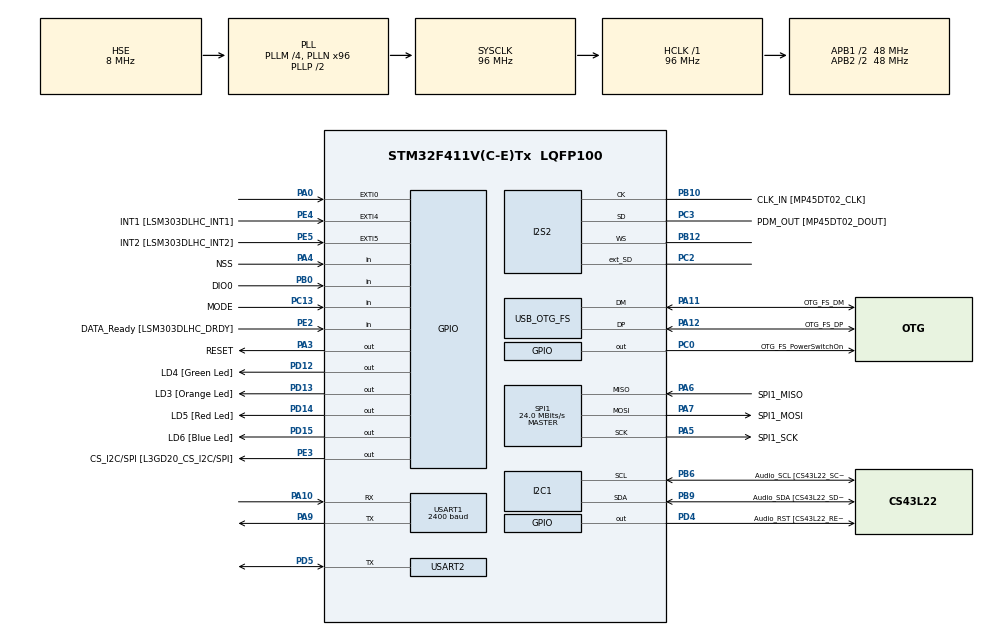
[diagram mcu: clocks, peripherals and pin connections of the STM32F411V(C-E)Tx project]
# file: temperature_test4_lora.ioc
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Dma.Request0=USART2_RX
Dma.Request1=USART2_TX
Dma.USART2_RX.0.Direction=DMA_PERIPH_TO_MEMORY
Dma.USART2_RX.0.FIFOMode=DMA_FIFOMODE_DISABLE
Dma.USART2_RX.0.Instance=DMA1_Stream7
Dma.USART2_RX.0.MemDataAlignment=DMA_MDATAALIGN_BYTE
Dma.USART2_RX.0.MemInc=DMA_MINC_ENABLE
Dma.USART2_RX.0.Mode=DMA_NORMAL
Dma.USART2_RX.0.PeriphDataAlignment=DMA_PDATAALIGN_BYTE
Dma.USART2_RX.0.PeriphInc=DMA_PINC_DISABLE
Dma.USART2_RX.0.Priority=DMA_PRIORITY_LOW
Dma.USART2_TX.1.Direction=DMA_MEMORY_TO_PERIPH
Dma.USART2_TX.1.FIFOMode=DMA_FIFOMODE_DISABLE
Dma.USART2_TX.1.Instance=DMA1_Stream6
Dma.USART2_TX.1.MemDataAlignment=DMA_MDATAALIGN_BYTE
Dma.USART2_TX.1.MemInc=DMA_MINC_ENABLE
Dma.USART2_TX.1.Mode=DMA_NORMAL
Dma.USART2_TX.1.PeriphDataAlignment=DMA_PDATAALIGN_BYTE
Dma.USART2_TX.1.PeriphInc=DMA_PINC_DISABLE
Dma.USART2_TX.1.Priority=DMA_PRIORITY_LOW
I2S2.AudioFreq=I2S_AUDIOFREQ_96K
I2S2.ErrorAudioFreq=0.15 %
I2S2.FullDuplexMode=I2S_FULLDUPLEXMODE_ENABLE
I2S2.Instance=SPI$Index
I2S2.RealAudioFreq=96.153 KHz
I2S2.VirtualMode=I2S_MODE_MASTER
Mcu.Family=STM32F4
Mcu.Name=STM32F411V(C-E)Tx
Mcu.Package=LQFP100
NVIC.DMA1_Stream6_IRQn=true\:0\:0\:false\:false\:true\:false\:true\:true
NVIC.DMA1_Stream7_IRQn=true\:0\:0\:false\:false\:true\:false\:true\:true
NVIC.OTG_FS_IRQn=true\:0\:0\:false\:false\:true\:true\:true\:true
NVIC.PriorityGroup=NVIC_PRIORITYGROUP_0
NVIC.RCC_IRQn=true\:0\:0\:false\:false\:true\:true\:false\:true
NVIC.USART2_IRQn=true\:0\:0\:false\:false\:true\:true\:true\:true
PA0-WKUP.GPIO_ModeDefaultEXTI=GPIO_MODE_EVT_RISING
PA0-WKUP.Signal=GPXTI0
PA10.Mode=Asynchronous
PA10.Signal=USART1_RX
PA11.GPIO_Label=OTG_FS_DM
PA11.Mode=Host_Only
PA11.Signal=USB_OTG_FS_DM
PA12.GPIO_Label=OTG_FS_DP
PA12.Mode=Host_Only
PA12.Signal=USB_OTG_FS_DP
PA13.GPIO_Label=SWDIO
PA13.Mode=Serial_Wire
PA13.Signal=SYS_JTMS-SWDIO
PA14.GPIO_Label=SWCLK
PA14.Mode=Serial_Wire
PA14.Signal=SYS_JTCK-SWCLK
PA3.GPIO_Label=RESET
PA3.Signal=GPIO_Output
PA4.GPIO_Label=NSS
PA4.Signal=GPIO_Input
PA5.GPIO_Label=SPI1_SCK
PA5.Mode=Full_Duplex_Master
PA5.Signal=SPI1_SCK
PA6.GPIO_Label=SPI1_MISO
PA6.Mode=Full_Duplex_Master
PA6.Signal=SPI1_MISO
PA7.GPIO_Label=SPI1_MOSI
PA7.Mode=Full_Duplex_Master
PA7.Signal=SPI1_MOSI
PA9.Mode=Asynchronous
PA9.Signal=USART1_TX
PB0.GPIO_Label=DIO0
PB0.Signal=GPIO_Input
PB10.GPIO_Label=CLK_IN [MP45DT02_CLK]
PB10.Mode=Full_Duplex_Master
PB10.Signal=I2S2_CK
PB12.Mode=Full_Duplex_Master
PB12.Signal=I2S2_WS
PB3.GPIO_Label=SWO
PB3.Signal=SYS_JTDO-SWO
PB6.GPIO_Label=Audio_SCL [CS43L22_SCL]
PB6.GPIO_Mode=GPIO_MODE_AF_OD
PB6.GPIO_Pu=GPIO_PULLUP
PB6.GPIO_PuPd=GPIO_NOPULL
PB6.GPIO_Speed=GPIO_SPEED_FREQ_LOW
PB6.Mode=I2C
PB6.Signal=I2C1_SCL
PB9.GPIO_Label=Audio_SDA [CS43L22_SDA]
PB9.GPIO_Mode=GPIO_MODE_AF_OD
PB9.GPIO_Pu=GPIO_PULLUP
PB9.GPIO_PuPd=GPIO_NOPULL
PB9.GPIO_Speed=GPIO_SPEED_FREQ_LOW
PB9.Mode=I2C
PB9.Signal=I2C1_SDA
PC0.GPIO_Label=OTG_FS_PowerSwitchOn
PC0.PinState=GPIO_PIN_SET
PC0.Signal=GPIO_Output
PC10.GPIO_Label=I2S3_SCK [CS43L22_SCLK]
PC10.GPIO_Mode=GPIO_MODE_AF_PP
PC10.GPIO_PuPd=GPIO_NOPULL
PC10.GPIO_Speed=GPIO_SPEED_FREQ_LOW
PC10.Signal=I2S3_CK
PC12.GPIO_Label=I2S3_SD [CS43L22_SDIN]
PC12.GPIO_Mode=GPIO_MODE_AF_PP
PC12.GPIO_PuPd=GPIO_NOPULL
PC12.GPIO_Speed=GPIO_SPEED_FREQ_LOW
PC12.Signal=I2S3_SD
PC13-ANTI_TAMP.GPIO_Label=MODE
PC13-ANTI_TAMP.Signal=GPIO_Input
PC14-OSC32_IN.GPIO_Label=PC14-OSC32_IN
PC14-OSC32_IN.Signal=RCC_OSC32_IN
PC15-OSC32_OUT.GPIO_Label=PC15-OSC32_OUT
PC15-OSC32_OUT.Signal=RCC_OSC32_OUT
PC2.Mode=Full_Duplex_Master
PC2.Signal=I2S2_ext_SD
PC3.GPIO_Label=PDM_OUT [MP45DT02_DOUT]
PC3.Mode=Full_Duplex_Master
PC3.Signal=I2S2_SD
PC7.GPIO_Label=I2S3_MCK [CS43L22_MCLK]
PC7.GPIO_Mode=GPIO_MODE_AF_PP
PC7.GPIO_PuPd=GPIO_NOPULL
PC7.GPIO_Speed=GPIO_SPEED_FREQ_LOW
PC7.Signal=I2S3_MCK
PD12.GPIO_Label=LD4 [Green Led]
PD12.GPIO_PuPd=GPIO_NOPULL
PD12.GPIO_Speed=GPIO_SPEED_FREQ_LOW
PD12.Signal=GPIO_Output
PD13.GPIO_Label=LD3 [Orange Led]
PD13.GPIO_PuPd=GPIO_NOPULL
PD13.GPIO_Speed=GPIO_SPEED_FREQ_LOW
PD13.Signal=GPIO_Output
PD14.GPIO_Label=LD5 [Red Led]
PD14.GPIO_PuPd=GPIO_NOPULL
PD14.GPIO_Speed=GPIO_SPEED_FREQ_LOW
PD14.Signal=GPIO_Output
PD15.GPIO_Label=LD6 [Blue Led]
PD15.GPIO_PuPd=GPIO_NOPULL
PD15.GPIO_Speed=GPIO_SPEED_FREQ_LOW
PD15.Signal=GPIO_Output
PD4.GPIO_Label=Audio_RST [CS43L22_RESET]
PD4.Signal=GPIO_Output
PD5.Mode=Half_duplex(single_wire_mode)
PD5.Signal=USART2_TX
PE2.GPIO_Label=DATA_Ready [LSM303DLHC_DRDY]
PE2.Signal=GPIO_Input
PE3.GPIO_Label=CS_I2C/SPI [L3GD20_CS_I2C/SPI]
PE3.Signal=GPIO_Output
PE4.GPIO_Label=INT1 [LSM303DLHC_INT1]
PE4.GPIO_ModeDefaultEXTI=GPIO_MODE_EVT_RISING
PE4.Signal=GPXTI4
PE5.GPIO_Label=INT2 [LSM303DLHC_INT2]
PE5.GPIO_ModeDefaultEXTI=GPIO_MODE_EVT_RISING
PE5.Signal=GPXTI5
PH0\ -\ OSC_IN.GPIO_Label=PH0-OSC_IN
PH0\ -\ OSC_IN.Mode=HSE-External-Oscillator
PH0\ -\ OSC_IN.Signal=RCC_OSC_IN
PH1\ -\ OSC_OUT.GPIO_Label=PH1-OSC_OUT
PH1\ -\ OSC_OUT.Mode=HSE-External-Oscillator
PH1\ -\ OSC_OUT.Signal=RCC_OSC_OUT
ProjectManager.HeapSize=0x200
ProjectManager.StackSize=0x400
ProjectManager.TargetToolchain=STM32CubeIDE
RCC.48MHZClocksFreq_Value=48000000
RCC.AHBFreq_Value=96000000
RCC.APB1CLKDivider=RCC_HCLK_DIV2
RCC.APB1Freq_Value=48000000
RCC.APB1TimFreq_Value=96000000
RCC.APB2CLKDivider=RCC_HCLK_DIV2
RCC.APB2Freq_Value=48000000
RCC.APB2TimFreq_Value=96000000
RCC.CortexFreq_Value=96000000
RCC.HCLKFreq_Value=96000000
RCC.HSE_VALUE=8000000
RCC.HSI_VALUE=16000000
RCC.LSE_VALUE=32768
RCC.PLLI2SM=5
RCC.PLLI2SN=200
RCC.PLLM=4
RCC.PLLN=96
RCC.SYSCLKFreq_VALUE=96000000
RCC.SYSCLKSource=RCC_SYSCLKSOURCE_PLLCLK
RCC.VCOOutputFreq_Value=192000000
SPI1.BaudRatePrescaler=SPI_BAUDRATEPRESCALER_2
SPI1.CalculateBaudRate=24.0 MBits/s
SPI1.Direction=SPI_DIRECTION_2LINES
SPI1.Mode=SPI_MODE_MASTER
SPI1.VirtualType=VM_MASTER
USART1.BaudRate=2400
USART1.VirtualMode=VM_ASYNC
USART2.VirtualMode=VM_ASYNC
USB_HOST.BSP.number=1
USB_HOST.USBH_HandleTypeDef=hUsbHostFS
USB_HOST.VirtualModeFS=Cdc
USB_HOST0.BSP.STBoard=false
USB_HOST0.BSP.api=Unknown
USB_HOST0.BSP.instance=PC0
USB_HOST0.BSP.ip=GPIO
USB_HOST0.BSP.mode=Output
USB_HOST0.BSP.name=Drive_VBUS_FS
USB_HOST0.BSP.solution=PC0
USB_OTG_FS.VirtualMode=Host_Only
USB_OTG_FS.phy_itface=HCD_PHY_EMBEDDED
VP_USB_HOST_VS_USB_HOST_CDC_FS.Mode=CDC_FS
board=STM32F411E-DISCO

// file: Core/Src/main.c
/* USER CODE BEGIN Header */
/**
  ******************************************************************************
  * @file           : main.c
  * @brief          : Main program body
  ******************************************************************************
  * @attention
  *
  * Copyright (c) 2024 STMicroelectronics.
  * All rights reserved.
  *
  * This software is licensed under terms that can be found in the LICENSE file
  * in the root directory of this software component.
  * If no LICENSE file comes with this software, it is provided AS-IS.
  *
  ******************************************************************************
  */
/* USER CODE END Header */
#include "main.h"
#include "dma.h"
#include "i2c.h"
#include "i2s.h"
#include "spi.h"
#include "usart.h"
#include "usb_host.h"
#include "gpio.h"

/* USER CODE BEGIN Includes */
#include "OneWire.h"
#include "DallasTemperature.h"
#include <stdio.h>
#include "SX1278.h"

/* USER CODE END Includes */

/* USER CODE BEGIN PV */
OneWire_HandleTypeDef ow1;
DallasTemperature_HandleTypeDef dt1;
/* USER CODE END PV */

void SystemClock_Config(void);
void MX_USB_HOST_Process(void);

/* USER CODE BEGIN 0 */
int _write(int file, char *ptr, int len)
{
	HAL_UART_Transmit(&huart1, (uint8_t *) ptr, len, HAL_MAX_DELAY);
	return len;
}
void printAddress(CurrentDeviceAddress deviceAddress)
{
  for (uint8_t i = 0; i < 8; i++)
  {
	  printf("0x%02X ", deviceAddress[i]);
  }
}
/* USER CODE END 0 */

int main(void)
{

  /* MCU Configuration--------------------------------------------------------*/

  /* Reset of all peripherals, Initializes the Flash interface and the Systick. */
  HAL_Init();

  /* Configure the system clock */
  SystemClock_Config();

  /* Initialize all configured peripherals */
  MX_GPIO_Init();
  MX_DMA_Init();
  MX_I2C1_Init();
  MX_I2S2_Init();
  MX_SPI1_Init();
  MX_USB_HOST_Init();
  MX_USART1_UART_Init();
  MX_USART2_UART_Init();
  /* USER CODE BEGIN 2 */
  uint8_t uartbuf[] = {"hellow world"};
  HAL_UART_Transmit(&huart1,uartbuf,sizeof(uartbuf),0xFFFF);
  OW_Begin(&ow1, &huart2);
  if(OW_Reset(&ow1) == OW_OK)
  {
    printf("[%8lu] OneWire 1 line devices are present :)\r\n", HAL_GetTick());
  }
  else
  {
    printf("[%8lu] OneWire 1 line no devices :(\r\n", HAL_GetTick());
  }
  DT_SetOneWire(&dt1, &ow1);
  // arrays to hold device address
  CurrentDeviceAddress insideThermometer;
  // locate devices on the bus
  printf("[%8lu] 1-line Locating devices...\r\n", HAL_GetTick());
  DT_Begin(&dt1);
  uint8_t numDevOneLine = DT_GetDeviceCount(&dt1);
  printf("[%8lu] 1-line Found %d devices.\r\n", HAL_GetTick(), numDevOneLine);

  for (int i = 0; i < numDevOneLine; ++i)
  {
  	if (!DT_GetAddress(&dt1, insideThermometer, i))
  		  printf("[%8lu] 1-line: Unable to find address for Device %d\r\n", HAL_GetTick(), i);
  	printf("[%8lu] 1-line: Device %d Address: ", HAL_GetTick(), i);
  	printAddress(insideThermometer);
  	printf("\r\n");
  	// set the resolution to 12 bit (Each Dallas/Maxim device is capable of several different resolutions)
  	DT_SetResolution(&dt1, insideThermometer, 12, true);
  	printf("[%8lu] 1-line: Device %d Resolution: %d\r\n", HAL_GetTick(), i, DT_GetResolution(&dt1, insideThermometer));
  }

  SX1278_hw_t SX1278_hw;
  SX1278_t SX1278;

  int master;
  int ret;

  char buffer[512];

  int message;
  int message_length;

	/* USER CODE BEGIN 2 */
//    master = HAL_GPIO_ReadPin(MODE_GPIO_Port, MODE_Pin); //pin switch to mode salve or master
  	master = 0;
	if (master == 1) {
		printf("Mode: Master\r\n");
		HAL_GPIO_WritePin(MODE_GPIO_Port, MODE_Pin, GPIO_PIN_RESET); //set
	} else {
		printf("Mode: Slave\r\n");
		HAL_GPIO_WritePin(MODE_GPIO_Port, MODE_Pin, GPIO_PIN_SET); //set
	}

	//initialize LoRa module
	SX1278_hw.dio0.port = DIO0_GPIO_Port;
	SX1278_hw.dio0.pin = DIO0_Pin;
	SX1278_hw.nss.port = NSS_GPIO_Port;
	SX1278_hw.nss.pin = NSS_Pin;
	SX1278_hw.reset.port = RESET_GPIO_Port;
	SX1278_hw.reset.pin = RESET_Pin;
	SX1278_hw.spi = &hspi1;

	SX1278.hw = &SX1278_hw;

	printf("Configuring LoRa module\r\n");
	SX1278_init(&SX1278, 434000000, SX1278_POWER_17DBM, SX1278_LORA_SF_7,
	SX1278_LORA_BW_125KHZ, SX1278_LORA_CR_4_5, SX1278_LORA_CRC_EN, 10);
	printf("Done configuring LoRaModule\r\n");

	if (master == 1) {
		ret = SX1278_LoRaEntryTx(&SX1278, 16, 2000);
	} else {
		ret = SX1278_LoRaEntryRx(&SX1278, 16, 2000);
	}
  /* USER CODE END 2 */

  /* Infinite loop */
  /* USER CODE BEGIN WHILE */
  while (1)
  {
		if (master == 1) {
			printf("Master ...\r\n");
			HAL_Delay(1000);
			printf("Sending package...\r\n");

			message_length = sprintf(buffer, "Hello %d", message);
			ret = SX1278_LoRaEntryTx(&SX1278, message_length, 2000);
			printf("Entry: %d\r\n", ret);

			printf("Sending %s\r\n", buffer);
			ret = SX1278_LoRaTxPacket(&SX1278, (uint8_t*) buffer,
					message_length, 2000);
			message += 1;

			printf("Transmission: %d\r\n", ret);
			printf("Package sent...\r\n");

		} else {
		printf("Slave ...\r\n");
		HAL_Delay(800);
		printf("Receiving package...\r\n");

		ret = SX1278_LoRaRxPacket(&SX1278);
		printf("Received: %d\r\n", ret);
		if (ret > 0) {
			SX1278_read(&SX1278, (uint8_t*) buffer, ret);
			printf("Content (%d): %s\r\n", ret, buffer);
		}
		printf("Package received ...\r\n");

	}

	//change mode
//		if (GPIO_PIN_RESET == HAL_GPIO_ReadPin(MODE_GPIO_Port, MODE_Pin)) {
//			printf("Changing mode\r\n");
//			master = ~master & 0x01;
		if (master == 1) {
				ret = SX1278_LoRaEntryTx(&SX1278, 16, 2000);
			} else {
				ret = SX1278_LoRaEntryRx(&SX1278, 16, 2000);
			}
			HAL_Delay(1000);
			while (GPIO_PIN_RESET == HAL_GPIO_ReadPin(MODE_GPIO_Port, MODE_Pin));
		}

	// call sensors.requestTemperatures() to issue a global temperature
	// request to all devices on the bus
	printf("[%8lu] 1-line: Requesting temperatures...", HAL_GetTick());
	DT_RequestTemperatures(&dt1); // Send the command to get temperatures
	printf("\r\n[%8lu] 1-line: DONE\r\n", HAL_GetTick());
	for (int i = 0; i < numDevOneLine; ++i)
	{
		// After we got the temperatures, we can print them here.
		// We use the function ByIndex, and as an example get the temperature from the first sensor only.
		printf("[%8lu] 1-line: Temperature for the device %d (index %d) is: %.2f\r\n", HAL_GetTick(), i, i, DT_GetTempCByIndex(&dt1, i));
	}

	HAL_Delay(DT_MillisToWaitForConversion(DT_GetAllResolution(&dt1)));

    /* USER CODE END WHILE */
    MX_USB_HOST_Process();

  }
}

void SystemClock_Config(void)
{
  RCC_OscInitTypeDef RCC_OscInitStruct = {0};
  RCC_ClkInitTypeDef RCC_ClkInitStruct = {0};

  /** Configure the main internal regulator output voltage
  */
  __HAL_RCC_PWR_CLK_ENABLE();
  __HAL_PWR_VOLTAGESCALING_CONFIG(PWR_REGULATOR_VOLTAGE_SCALE1);

  /** Initializes the RCC Oscillators according to the specified parameters
  * in the RCC_OscInitTypeDef structure.
  */
  RCC_OscInitStruct.OscillatorType = RCC_OSCILLATORTYPE_HSE;
  RCC_OscInitStruct.HSEState = RCC_HSE_ON;
  RCC_OscInitStruct.PLL.PLLState = RCC_PLL_ON;
  RCC_OscInitStruct.PLL.PLLSource = RCC_PLLSOURCE_HSE;
  RCC_OscInitStruct.PLL.PLLM = 4;
  RCC_OscInitStruct.PLL.PLLN = 96;
  RCC_OscInitStruct.PLL.PLLP = RCC_PLLP_DIV2;
  RCC_OscInitStruct.PLL.PLLQ = 4;
  if (HAL_RCC_OscConfig(&RCC_OscInitStruct) != HAL_OK)
  {
    Error_Handler();
  }

  /** Initializes the CPU, AHB and APB buses clocks
  */
  RCC_ClkInitStruct.ClockType = RCC_CLOCKTYPE_HCLK|RCC_CLOCKTYPE_SYSCLK
                              |RCC_CLOCKTYPE_PCLK1|RCC_CLOCKTYPE_PCLK2;
  RCC_ClkInitStruct.SYSCLKSource = RCC_SYSCLKSOURCE_PLLCLK;
  RCC_ClkInitStruct.AHBCLKDivider = RCC_SYSCLK_DIV1;
  RCC_ClkInitStruct.APB1CLKDivider = RCC_HCLK_DIV2;
  RCC_ClkInitStruct.APB2CLKDivider = RCC_HCLK_DIV2;

  if (HAL_RCC_ClockConfig(&RCC_ClkInitStruct, FLASH_LATENCY_3) != HAL_OK)
  {
    Error_Handler();
  }
}

void Error_Handler(void)
{
  __disable_irq();
  while (1)
  {
  }
}
